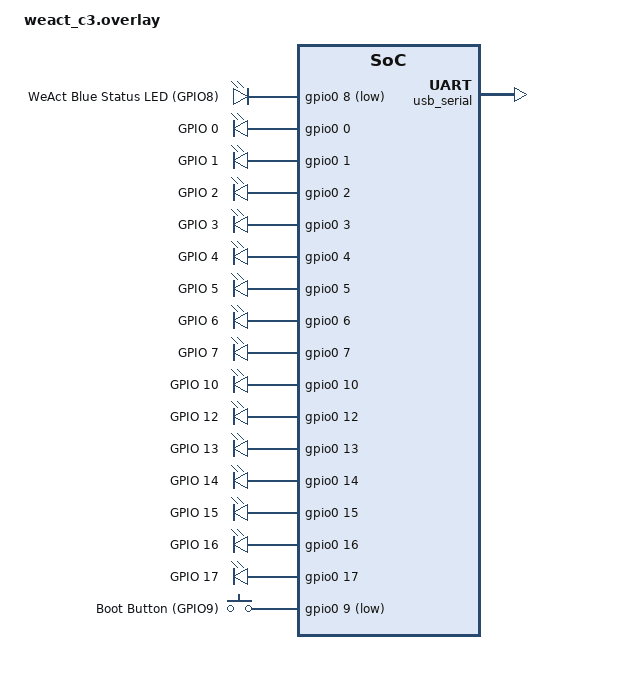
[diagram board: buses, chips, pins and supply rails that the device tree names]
/*
 * Copyright (c) 2024 - 2026 MeshX
 * SPDX-License-Identifier: Apache-2.0
 *
 * Board-specific DeviceTree IO Overlay for WeAct ESP32-C3 BSP.
 * Defines board-fixed peripherals (Status LED, Boot Button, USB CDC Serial)
 * and exposes breakout pins generically by GPIO number. Runtime role
 * configuration is driven top-down by MeshX IO firmware and prod_profile.yml.
 */

/ {
	chosen {
		zephyr,console = &usb_serial;
		zephyr,shell-uart = &usb_serial;
	};

	aliases {
		led0 = &blue_status_led;
		sw0 = &boot_button;

		/* Generic GPIO pin aliases */
		gpio0  = &pin_gpio0;
		gpio1  = &pin_gpio1;
		gpio2  = &pin_gpio2;
		gpio3  = &pin_gpio3;
		gpio4  = &pin_gpio4;
		gpio5  = &pin_gpio5;
		gpio6  = &pin_gpio6;
		gpio7  = &pin_gpio7;
		gpio10 = &pin_gpio10;
		gpio12 = &pin_gpio12;
		gpio13 = &pin_gpio13;
		gpio14 = &pin_gpio14;
		gpio15 = &pin_gpio15;
		gpio16 = &pin_gpio16;
		gpio17 = &pin_gpio17;
	};

	leds {
		compatible = "gpio-leds";

		blue_status_led: led_0 {
			gpios = <&gpio0 8 GPIO_ACTIVE_LOW>;
			label = "WeAct Blue Status LED (GPIO8)";
		};

		/* Generic Breakout GPIO Pin Nodes */
		pin_gpio0: gpio_0 {
			gpios = <&gpio0 0 GPIO_ACTIVE_HIGH>;
			label = "GPIO 0";
		};

		pin_gpio1: gpio_1 {
			gpios = <&gpio0 1 GPIO_ACTIVE_HIGH>;
			label = "GPIO 1";
		};

		pin_gpio2: gpio_2 {
			gpios = <&gpio0 2 GPIO_ACTIVE_HIGH>;
			label = "GPIO 2";
		};

		pin_gpio3: gpio_3 {
			gpios = <&gpio0 3 GPIO_ACTIVE_HIGH>;
			label = "GPIO 3";
		};

		pin_gpio4: gpio_4 {
			gpios = <&gpio0 4 GPIO_ACTIVE_HIGH>;
			label = "GPIO 4";
		};

		pin_gpio5: gpio_5 {
			gpios = <&gpio0 5 GPIO_ACTIVE_HIGH>;
			label = "GPIO 5";
		};

		pin_gpio6: gpio_6 {
			gpios = <&gpio0 6 GPIO_ACTIVE_HIGH>;
			label = "GPIO 6";
		};

		pin_gpio7: gpio_7 {
			gpios = <&gpio0 7 GPIO_ACTIVE_HIGH>;
			label = "GPIO 7";
		};

		pin_gpio10: gpio_10 {
			gpios = <&gpio0 10 GPIO_ACTIVE_HIGH>;
			label = "GPIO 10";
		};

		pin_gpio12: gpio_12 {
			gpios = <&gpio0 12 GPIO_ACTIVE_HIGH>;
			label = "GPIO 12";
		};

		pin_gpio13: gpio_13 {
			gpios = <&gpio0 13 GPIO_ACTIVE_HIGH>;
			label = "GPIO 13";
		};

		pin_gpio14: gpio_14 {
			gpios = <&gpio0 14 GPIO_ACTIVE_HIGH>;
			label = "GPIO 14";
		};

		pin_gpio15: gpio_15 {
			gpios = <&gpio0 15 GPIO_ACTIVE_HIGH>;
			label = "GPIO 15";
		};

		pin_gpio16: gpio_16 {
			gpios = <&gpio0 16 GPIO_ACTIVE_HIGH>;
			label = "GPIO 16";
		};

		pin_gpio17: gpio_17 {
			gpios = <&gpio0 17 GPIO_ACTIVE_HIGH>;
			label = "GPIO 17";
		};
	};

	gpio_keys {
		compatible = "gpio-keys";

		boot_button: button_boot {
			label = "Boot Button (GPIO9)";
			gpios = <&gpio0 9 (GPIO_PULL_UP | GPIO_ACTIVE_LOW)>;
		};
	};
};

&usb_serial {
	status = "okay";
};
